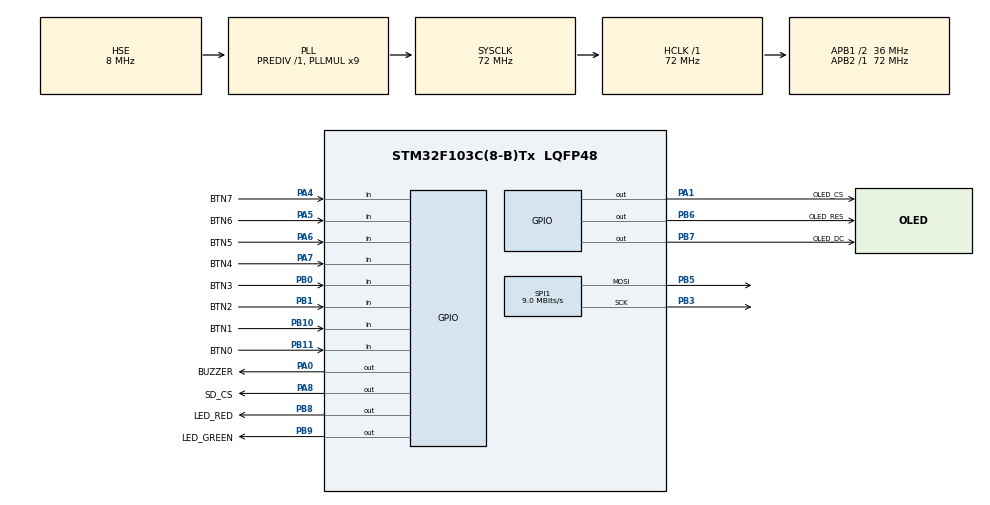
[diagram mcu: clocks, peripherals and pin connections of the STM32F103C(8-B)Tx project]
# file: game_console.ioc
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Mcu.Family=STM32F1
Mcu.Name=STM32F103C(8-B)Tx
Mcu.Package=LQFP48
NVIC.PriorityGroup=NVIC_PRIORITYGROUP_4
PA0-WKUP.GPIO_Label=BUZZER
PA0-WKUP.GPIO_PuPd=GPIO_NOPULL
PA0-WKUP.Signal=GPIO_Output
PA1.GPIO_Label=OLED_CS
PA1.GPIO_PuPd=GPIO_NOPULL
PA1.PinState=GPIO_PIN_SET
PA1.Signal=GPIO_Output
PA13.Mode=Serial_Wire
PA13.Signal=SYS_JTMS-SWDIO
PA14.Mode=Serial_Wire
PA14.Signal=SYS_JTCK-SWCLK
PA4.GPIO_Label=BTN7
PA4.GPIO_PuPd=GPIO_PULLUP
PA4.Signal=GPIO_Input
PA5.GPIO_Label=BTN6
PA5.GPIO_PuPd=GPIO_PULLUP
PA5.Signal=GPIO_Input
PA6.GPIO_Label=BTN5
PA6.GPIO_PuPd=GPIO_PULLUP
PA6.Signal=GPIO_Input
PA7.GPIO_Label=BTN4
PA7.GPIO_PuPd=GPIO_PULLUP
PA7.Signal=GPIO_Input
PA8.GPIO_Label=SD_CS
PA8.PinState=GPIO_PIN_SET
PA8.Signal=GPIO_Output
PB0.GPIO_Label=BTN3
PB0.GPIO_PuPd=GPIO_PULLUP
PB0.Signal=GPIO_Input
PB1.GPIO_Label=BTN2
PB1.GPIO_PuPd=GPIO_PULLUP
PB1.Signal=GPIO_Input
PB10.GPIO_Label=BTN1
PB10.GPIO_PuPd=GPIO_PULLUP
PB10.Signal=GPIO_Input
PB11.GPIO_Label=BTN0
PB11.GPIO_PuPd=GPIO_PULLUP
PB11.Signal=GPIO_Input
PB3.Mode=TX_Only_Simplex_Unidirect_Master
PB3.Signal=SPI1_SCK
PB5.Mode=TX_Only_Simplex_Unidirect_Master
PB5.Signal=SPI1_MOSI
PB6.GPIO_Label=OLED_RES
PB6.Signal=GPIO_Output
PB7.GPIO_Label=OLED_DC
PB7.Signal=GPIO_Output
PB8.GPIO_Label=LED_RED
PB8.Signal=GPIO_Output
PB9.GPIO_Label=LED_GREEN
PB9.Signal=GPIO_Output
PD0-OSC_IN.Mode=HSE-External-Oscillator
PD0-OSC_IN.Signal=RCC_OSC_IN
PD1-OSC_OUT.Mode=HSE-External-Oscillator
PD1-OSC_OUT.Signal=RCC_OSC_OUT
ProjectManager.HeapSize=0x200
ProjectManager.StackSize=0x400
ProjectManager.TargetToolchain=STM32CubeIDE
RCC.AHBFreq_Value=72000000
RCC.APB1CLKDivider=RCC_HCLK_DIV2
RCC.APB1Freq_Value=36000000
RCC.APB1TimFreq_Value=72000000
RCC.APB2Freq_Value=72000000
RCC.APB2TimFreq_Value=72000000
RCC.HCLKFreq_Value=72000000
RCC.PLLMUL=RCC_PLL_MUL9
RCC.PLLSourceVirtual=RCC_PLLSOURCE_HSE
RCC.SYSCLKFreq_VALUE=72000000
RCC.SYSCLKSource=RCC_SYSCLKSOURCE_PLLCLK
RCC.USBFreq_Value=72000000
SPI1.BaudRatePrescaler=SPI_BAUDRATEPRESCALER_8
SPI1.CalculateBaudRate=9.0 MBits/s
SPI1.Direction=SPI_DIRECTION_2LINES
SPI1.Mode=SPI_MODE_MASTER
SPI1.VirtualType=VM_MASTER
board=custom

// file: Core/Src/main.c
/* USER CODE BEGIN Header */
/**
  ******************************************************************************
  * @file           : main.c
  * @brief          : Main program body
  ******************************************************************************
  * @attention
  *
  * Copyright (c) 2026 STMicroelectronics.
  * All rights reserved.
  *
  * This software is licensed under terms that can be found in the LICENSE file
  * in the root directory of this software component.
  * If no LICENSE file comes with this software, it is provided AS-IS.
  *
  ******************************************************************************
  */
/* USER CODE END Header */
#include "main.h"

/* USER CODE BEGIN Includes */
#include "app.h"
/* USER CODE END Includes */

SPI_HandleTypeDef hspi1;

void SystemClock_Config(void);
static void MX_GPIO_Init(void);
static void MX_SPI1_Init(void);

int main(void)
{

  /* MCU Configuration--------------------------------------------------------*/

  /* Reset of all peripherals, Initializes the Flash interface and the Systick. */
  HAL_Init();

  /* Configure the system clock */
  SystemClock_Config();

  /* Initialize all configured peripherals */
  MX_GPIO_Init();
  MX_SPI1_Init();
  /* USER CODE BEGIN 2 */
//  dev_led.open();
  uint8_t on = 0x03;
  uint8_t off = 0x00;
  static const uint8_t cube_frame[1024] = {
      0x00, 0x00, 0x00, 0x00, 0x00, 0x00, 0x00, 0x00, 0x00, 0x00, 0x00, 0x00, 0x00, 0x00, 0x00, 0x00,
      0x00, 0x00, 0x00, 0x00, 0x00, 0x00, 0x00, 0x00, 0x00, 0x00, 0x00, 0x00, 0x00, 0x00, 0x00, 0x00,
      0x00, 0x00, 0x00, 0x00, 0x00, 0x00, 0x00, 0x00, 0x00, 0x00, 0x00, 0x00, 0x00, 0x00, 0x00, 0x00,
      0x00, 0x00, 0x00, 0x00, 0x80, 0x80, 0xC0, 0x40, 0x40, 0x40, 0x40, 0x40, 0x40, 0x40, 0x40, 0x40,
      0x40, 0x40, 0x40, 0x40, 0x40, 0x40, 0x40, 0x40, 0x40, 0x40, 0x40, 0x40, 0x40, 0x40, 0x40, 0x40,
      0x40, 0x40, 0x40, 0x40, 0x40, 0x40, 0x40, 0x40, 0x40, 0x40, 0x40, 0x40, 0xC0, 0xC0, 0xC0, 0x00,
      0x00, 0x00, 0x00, 0x00, 0x00, 0x00, 0x00, 0x00, 0x00, 0x00, 0x00, 0x00, 0x00, 0x00, 0x00, 0x00,
      0x00, 0x00, 0x00, 0x00, 0x00, 0x00, 0x00, 0x00, 0x00, 0x00, 0x00, 0x00, 0x00, 0x00, 0x00, 0x00,
      0x00, 0x00, 0x00, 0x00, 0x00, 0x00, 0x00, 0x00, 0x00, 0x00, 0x00, 0x00, 0x00, 0x00, 0x00, 0x00,
      0x00, 0x00, 0x00, 0x00, 0x00, 0x00, 0x00, 0x00, 0x00, 0x00, 0x00, 0x00, 0x00, 0x00, 0x00, 0x00,
      0x00, 0x00, 0x00, 0x00, 0x00, 0x00, 0x00, 0x00, 0x00, 0x80, 0x40, 0x40, 0x20, 0x10, 0x10, 0x08,
      0x04, 0x02, 0x02, 0x01, 0x00, 0x00, 0xFF, 0x00, 0x00, 0x00, 0x00, 0x00, 0x00, 0x00, 0x00, 0x00,
      0x00, 0x00, 0x00, 0x00, 0x00, 0x00, 0x00, 0x00, 0x00, 0x00, 0x00, 0x00, 0x00, 0x00, 0x00, 0x00,
      0x00, 0x80, 0x40, 0x40, 0x20, 0x10, 0x10, 0x08, 0x04, 0x02, 0x02, 0x01, 0x00, 0x00, 0xFF, 0x00,
      0x00, 0x00, 0x00, 0x00, 0x00, 0x00, 0x00, 0x00, 0x00, 0x00, 0x00, 0x00, 0x00, 0x00, 0x00, 0x00,
      0x00, 0x00, 0x00, 0x00, 0x00, 0x00, 0x00, 0x00, 0x00, 0x00, 0x00, 0x00, 0x00, 0x00, 0x00, 0x00,
      0x00, 0x00, 0x00, 0x00, 0x00, 0x00, 0x00, 0x00, 0x00, 0x00, 0x00, 0x00, 0x00, 0x00, 0x00, 0x00,
      0x00, 0x00, 0x00, 0x00, 0x00, 0x00, 0x00, 0x00, 0x00, 0x00, 0x00, 0x00, 0x00, 0x00, 0x00, 0x00,
      0x00, 0x00, 0xF0, 0x18, 0x18, 0x14, 0x12, 0x11, 0x11, 0x10, 0x10, 0x10, 0x10, 0x10, 0x10, 0x10,
      0x10, 0x10, 0x10, 0x10, 0x10, 0x10, 0xFF, 0x10, 0x10, 0x10, 0x10, 0x10, 0x10, 0x10, 0x10, 0x10,
      0x10, 0x10, 0x10, 0x10, 0x10, 0x10, 0x10, 0x10, 0x10, 0x10, 0xF0, 0x08, 0x08, 0x04, 0x02, 0x01,
      0x01, 0x00, 0x00, 0x00, 0x00, 0x00, 0x00, 0x00, 0x00, 0x00, 0x00, 0x00, 0x00, 0x00, 0xFF, 0x00,
      0x00, 0x00, 0x00, 0x00, 0x00, 0x00, 0x00, 0x00, 0x00, 0x00, 0x00, 0x00, 0x00, 0x00, 0x00, 0x00,
      0x00, 0x00, 0x00, 0x00, 0x00, 0x00, 0x00, 0x00, 0x00, 0x00, 0x00, 0x00, 0x00, 0x00, 0x00, 0x00,
      0x00, 0x00, 0x00, 0x00, 0x00, 0x00, 0x00, 0x00, 0x00, 0x00, 0x00, 0x00, 0x00, 0x00, 0x00, 0x00,
      0x00, 0x00, 0x00, 0x00, 0x00, 0x00, 0x00, 0x00, 0x00, 0x00, 0x00, 0x00, 0x00, 0x00, 0x00, 0x00,
      0x00, 0x00, 0xFF, 0x00, 0x00, 0x00, 0x00, 0x00, 0x00, 0x00, 0x00, 0x00, 0x00, 0x00, 0x00, 0x00,
      0x00, 0x00, 0x00, 0x00, 0x00, 0x00, 0xFF, 0x00, 0x00, 0x00, 0x00, 0x00, 0x00, 0x00, 0x00, 0x00,
      0x00, 0x00, 0x00, 0x00, 0x00, 0x00, 0x00, 0x00, 0x00, 0x00, 0xFF, 0x00, 0x00, 0x00, 0x00, 0x00,
      0x00, 0x00, 0x00, 0x00, 0x00, 0x00, 0x00, 0x00, 0x00, 0x00, 0x00, 0x00, 0x00, 0x00, 0xFF, 0x00,
      0x00, 0x00, 0x00, 0x00, 0x00, 0x00, 0x00, 0x00, 0x00, 0x00, 0x00, 0x00, 0x00, 0x00, 0x00, 0x00,
      0x00, 0x00, 0x00, 0x00, 0x00, 0x00, 0x00, 0x00, 0x00, 0x00, 0x00, 0x00, 0x00, 0x00, 0x00, 0x00,
      0x00, 0x00, 0x00, 0x00, 0x00, 0x00, 0x00, 0x00, 0x00, 0x00, 0x00, 0x00, 0x00, 0x00, 0x00, 0x00,
      0x00, 0x00, 0x00, 0x00, 0x00, 0x00, 0x00, 0x00, 0x00, 0x00, 0x00, 0x00, 0x00, 0x00, 0x00, 0x00,
      0x00, 0x00, 0xFF, 0x00, 0x00, 0x00, 0x00, 0x00, 0x00, 0x00, 0x00, 0x00, 0x00, 0x00, 0x00, 0x00,
      0x00, 0x00, 0x00, 0x00, 0x00, 0x00, 0xFF, 0x00, 0x00, 0x00, 0x00, 0x00, 0x00, 0x00, 0x00, 0x00,
      0x00, 0x00, 0x00, 0x00, 0x00, 0x00, 0x00, 0x00, 0x00, 0x00, 0xFF, 0x00, 0x00, 0x00, 0x00, 0x00,
      0x00, 0x00, 0x00, 0x00, 0x00, 0x00, 0x00, 0x00, 0x00, 0x00, 0x00, 0x00, 0x00, 0x00, 0xFF, 0x00,
      0x00, 0x00, 0x00, 0x00, 0x00, 0x00, 0x00, 0x00, 0x00, 0x00, 0x00, 0x00, 0x00, 0x00, 0x00, 0x00,
      0x00, 0x00, 0x00, 0x00, 0x00, 0x00, 0x00, 0x00, 0x00, 0x00, 0x00, 0x00, 0x00, 0x00, 0x00, 0x00,
      0x00, 0x00, 0x00, 0x00, 0x00, 0x00, 0x00, 0x00, 0x00, 0x00, 0x00, 0x00, 0x00, 0x00, 0x00, 0x00,
      0x00, 0x00, 0x00, 0x00, 0x00, 0x00, 0x00, 0x00, 0x00, 0x00, 0x00, 0x00, 0x00, 0x00, 0x00, 0x00,
      0x00, 0x00, 0xFF, 0x00, 0x00, 0x00, 0x00, 0x00, 0x00, 0x00, 0x00, 0x00, 0x00, 0x00, 0x00, 0x00,
      0x00, 0x00, 0x00, 0x00, 0x80, 0x80, 0x7F, 0x40, 0x40, 0x40, 0x40, 0x40, 0x40, 0x40, 0x40, 0x40,
      0x40, 0x40, 0x40, 0x40, 0x40, 0x40, 0x40, 0x40, 0x40, 0x40, 0xFF, 0x40, 0x40, 0x40, 0x40, 0x40,
      0x40, 0x40, 0x40, 0x40, 0x40, 0x40, 0x40, 0x40, 0x40, 0x40, 0x40, 0x40, 0xC0, 0xC0, 0x7F, 0x00,
      0x00, 0x00, 0x00, 0x00, 0x00, 0x00, 0x00, 0x00, 0x00, 0x00, 0x00, 0x00, 0x00, 0x00, 0x00, 0x00,
      0x00, 0x00, 0x00, 0x00, 0x00, 0x00, 0x00, 0x00, 0x00, 0x00, 0x00, 0x00, 0x00, 0x00, 0x00, 0x00,
      0x00, 0x00, 0x00, 0x00, 0x00, 0x00, 0x00, 0x00, 0x00, 0x00, 0x00, 0x00, 0x00, 0x00, 0x00, 0x00,
      0x00, 0x00, 0x00, 0x00, 0x00, 0x00, 0x00, 0x00, 0x00, 0x00, 0x00, 0x00, 0x00, 0x00, 0x00, 0x00,
      0x00, 0x00, 0xFF, 0x00, 0x00, 0x00, 0x00, 0x00, 0x00, 0x80, 0x40, 0x40, 0x20, 0x10, 0x10, 0x08,
      0x04, 0x02, 0x02, 0x01, 0x00, 0x00, 0x00, 0x00, 0x00, 0x00, 0x00, 0x00, 0x00, 0x00, 0x00, 0x00,
      0x00, 0x00, 0x00, 0x00, 0x00, 0x00, 0x00, 0x00, 0x00, 0x00, 0xFF, 0x00, 0x00, 0x00, 0x00, 0x00,
      0x00, 0x80, 0x40, 0x40, 0x20, 0x10, 0x10, 0x08, 0x04, 0x02, 0x02, 0x01, 0x00, 0x00, 0x00, 0x00,
      0x00, 0x00, 0x00, 0x00, 0x00, 0x00, 0x00, 0x00, 0x00, 0x00, 0x00, 0x00, 0x00, 0x00, 0x00, 0x00,
      0x00, 0x00, 0x00, 0x00, 0x00, 0x00, 0x00, 0x00, 0x00, 0x00, 0x00, 0x00, 0x00, 0x00, 0x00, 0x00,
      0x00, 0x00, 0x00, 0x00, 0x00, 0x00, 0x00, 0x00, 0x00, 0x00, 0x00, 0x00, 0x00, 0x00, 0x00, 0x00,
      0x00, 0x00, 0x00, 0x00, 0x00, 0x00, 0x00, 0x00, 0x00, 0x00, 0x00, 0x00, 0x00, 0x00, 0x00, 0x00,
      0x00, 0x00, 0x1F, 0x18, 0x18, 0x14, 0x12, 0x11, 0x11, 0x10, 0x10, 0x10, 0x10, 0x10, 0x10, 0x10,
      0x10, 0x10, 0x10, 0x10, 0x10, 0x10, 0x10, 0x10, 0x10, 0x10, 0x10, 0x10, 0x10, 0x10, 0x10, 0x10,
      0x10, 0x10, 0x10, 0x10, 0x10, 0x10, 0x10, 0x10, 0x10, 0x10, 0x1F, 0x08, 0x08, 0x04, 0x02, 0x01,
      0x01, 0x00, 0x00, 0x00, 0x00, 0x00, 0x00, 0x00, 0x00, 0x00, 0x00, 0x00, 0x00, 0x00, 0x00, 0x00,
      0x00, 0x00, 0x00, 0x00, 0x00, 0x00, 0x00, 0x00, 0x00, 0x00, 0x00, 0x00, 0x00, 0x00, 0x00, 0x00,
      0x00, 0x00, 0x00, 0x00, 0x00, 0x00, 0x00, 0x00, 0x00, 0x00, 0x00, 0x00, 0x00, 0x00, 0x00, 0x00,
  };

//  dev_display.open();
//  screen_set_pixel(0, 0, 1);
//  screen_set_pixel(0, 63, 1);
//  screen_set_pixel(127, 0, 1);
//  screen_set_pixel(127, 63, 1);
//  dev_display.write(screen_buffer(), SCREEN_BYTES);

  app_main();
  /* USER CODE END 2 */

  /* Infinite loop */
  /* USER CODE BEGIN WHILE */
  while (1)
  {
	  int state = HAL_GPIO_ReadPin(BTN4_GPIO_Port, BTN4_Pin);
	  HAL_GPIO_WritePin(LED_GREEN_GPIO_Port, LED_GREEN_Pin, !state);
    /* USER CODE END WHILE */

    /* USER CODE BEGIN 3 */
//	  HAL_GPIO_TogglePin(GPIOB, GPIO_PIN_8);
//	  HAL_GPIO_TogglePin(GPIOB, GPIO_PIN_9);
//	  HAL_Delay(500);

    /* USER CODE BEGIN 3 */
  }
  /* USER CODE END 3 */
}

void SystemClock_Config(void)
{
  RCC_OscInitTypeDef RCC_OscInitStruct = {0};
  RCC_ClkInitTypeDef RCC_ClkInitStruct = {0};

  /** Initializes the RCC Oscillators according to the specified parameters
  * in the RCC_OscInitTypeDef structure.
  */
  RCC_OscInitStruct.OscillatorType = RCC_OSCILLATORTYPE_HSE;
  RCC_OscInitStruct.HSEState = RCC_HSE_ON;
  RCC_OscInitStruct.HSEPredivValue = RCC_HSE_PREDIV_DIV1;
  RCC_OscInitStruct.HSIState = RCC_HSI_ON;
  RCC_OscInitStruct.PLL.PLLState = RCC_PLL_ON;
  RCC_OscInitStruct.PLL.PLLSource = RCC_PLLSOURCE_HSE;
  RCC_OscInitStruct.PLL.PLLMUL = RCC_PLL_MUL9;
  if (HAL_RCC_OscConfig(&RCC_OscInitStruct) != HAL_OK)
  {
    Error_Handler();
  }

  /** Initializes the CPU, AHB and APB buses clocks
  */
  RCC_ClkInitStruct.ClockType = RCC_CLOCKTYPE_HCLK|RCC_CLOCKTYPE_SYSCLK
                              |RCC_CLOCKTYPE_PCLK1|RCC_CLOCKTYPE_PCLK2;
  RCC_ClkInitStruct.SYSCLKSource = RCC_SYSCLKSOURCE_PLLCLK;
  RCC_ClkInitStruct.AHBCLKDivider = RCC_SYSCLK_DIV1;
  RCC_ClkInitStruct.APB1CLKDivider = RCC_HCLK_DIV2;
  RCC_ClkInitStruct.APB2CLKDivider = RCC_HCLK_DIV1;

  if (HAL_RCC_ClockConfig(&RCC_ClkInitStruct, FLASH_LATENCY_2) != HAL_OK)
  {
    Error_Handler();
  }
}

static void MX_SPI1_Init(void)
{

  /* SPI1 parameter configuration*/
  hspi1.Instance = SPI1;
  hspi1.Init.Mode = SPI_MODE_MASTER;
  hspi1.Init.Direction = SPI_DIRECTION_2LINES;
  hspi1.Init.DataSize = SPI_DATASIZE_8BIT;
  hspi1.Init.CLKPolarity = SPI_POLARITY_LOW;
  hspi1.Init.CLKPhase = SPI_PHASE_1EDGE;
  hspi1.Init.NSS = SPI_NSS_SOFT;
  hspi1.Init.BaudRatePrescaler = SPI_BAUDRATEPRESCALER_8;
  hspi1.Init.FirstBit = SPI_FIRSTBIT_MSB;
  hspi1.Init.TIMode = SPI_TIMODE_DISABLE;
  hspi1.Init.CRCCalculation = SPI_CRCCALCULATION_DISABLE;
  hspi1.Init.CRCPolynomial = 10;
  if (HAL_SPI_Init(&hspi1) != HAL_OK)
  {
    Error_Handler();
  }

}

static void MX_GPIO_Init(void)
{
  GPIO_InitTypeDef GPIO_InitStruct = {0};

  /* GPIO Ports Clock Enable */
  __HAL_RCC_GPIOD_CLK_ENABLE();
  __HAL_RCC_GPIOA_CLK_ENABLE();
  __HAL_RCC_GPIOB_CLK_ENABLE();

  /*Configure GPIO pin Output Level */
  HAL_GPIO_WritePin(BUZZER_GPIO_Port, BUZZER_Pin, GPIO_PIN_RESET);

  /*Configure GPIO pin Output Level */
  HAL_GPIO_WritePin(GPIOA, OLED_CS_Pin|SD_CS_Pin, GPIO_PIN_SET);

  /*Configure GPIO pin Output Level */
  HAL_GPIO_WritePin(GPIOB, OLED_RES_Pin|OLED_DC_Pin|LED_RED_Pin|LED_GREEN_Pin, GPIO_PIN_RESET);

  /*Configure GPIO pins : BUZZER_Pin OLED_CS_Pin SD_CS_Pin */
  GPIO_InitStruct.Pin = BUZZER_Pin|OLED_CS_Pin|SD_CS_Pin;
  GPIO_InitStruct.Mode = GPIO_MODE_OUTPUT_PP;
  GPIO_InitStruct.Pull = GPIO_NOPULL;
  GPIO_InitStruct.Speed = GPIO_SPEED_FREQ_LOW;
  HAL_GPIO_Init(GPIOA, &GPIO_InitStruct);

  /*Configure GPIO pins : BTN7_Pin BTN6_Pin BTN5_Pin BTN4_Pin */
  GPIO_InitStruct.Pin = BTN7_Pin|BTN6_Pin|BTN5_Pin|BTN4_Pin;
  GPIO_InitStruct.Mode = GPIO_MODE_INPUT;
  GPIO_InitStruct.Pull = GPIO_PULLUP;
  HAL_GPIO_Init(GPIOA, &GPIO_InitStruct);

  /*Configure GPIO pins : BTN3_Pin BTN2_Pin BTN1_Pin BTN0_Pin */
  GPIO_InitStruct.Pin = BTN3_Pin|BTN2_Pin|BTN1_Pin|BTN0_Pin;
  GPIO_InitStruct.Mode = GPIO_MODE_INPUT;
  GPIO_InitStruct.Pull = GPIO_PULLUP;
  HAL_GPIO_Init(GPIOB, &GPIO_InitStruct);

  /*Configure GPIO pins : OLED_RES_Pin OLED_DC_Pin LED_RED_Pin LED_GREEN_Pin */
  GPIO_InitStruct.Pin = OLED_RES_Pin|OLED_DC_Pin|LED_RED_Pin|LED_GREEN_Pin;
  GPIO_InitStruct.Mode = GPIO_MODE_OUTPUT_PP;
  GPIO_InitStruct.Pull = GPIO_NOPULL;
  GPIO_InitStruct.Speed = GPIO_SPEED_FREQ_LOW;
  HAL_GPIO_Init(GPIOB, &GPIO_InitStruct);

}

void Error_Handler(void)
{
  __disable_irq();
  while (1)
  {
  }
}
